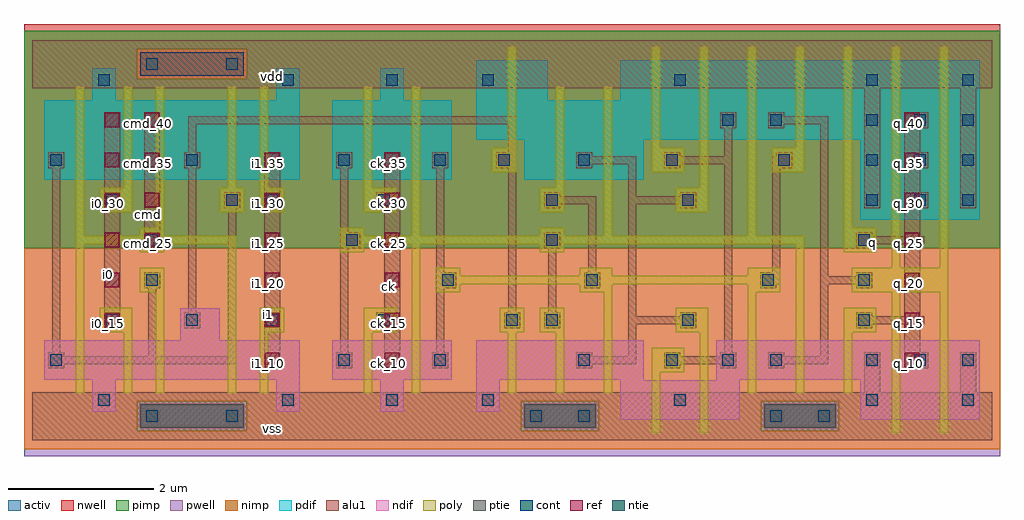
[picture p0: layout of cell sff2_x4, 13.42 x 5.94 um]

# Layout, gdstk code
import gdstk
lib = gdstk.Library(unit=1e-6, precision=2.5e-09)
def R(c, l, rs):  # rectangles x0, y0, x1, y1
    for r in rs: c.add(gdstk.rectangle(r[:2], r[2:], *l))
def A(c, l, x, y, w, h, nx, ny, dx, dy):  # array of equal rectangles
    R(c, l, [(x+i*dx, y+j*dy, x+i*dx+w, y+j*dy+h) for i in range(nx) for j in range(ny)])
ndif = (3, 0)
pdif = (4, 0)
ntie = (5, 0)
ptie = (6, 0)
ref = (24, 0)
cont = (25, 0)
pwell = (41, 0)
nwell = (42, 0)
activ = (43, 0)
pimp = (44, 0)
nimp = (45, 0)
poly = (46, 0)
alu1 = (49, 0)

sff2_x4 = lib.new_cell('sff2_x4')
R(sff2_x4, ndif, [(8.09,0.28,9.73,0.82), (8.09,0.28,9.73,0.82), (11.39,0.28,13.03,0.83), (11.39,0.28,13.03,0.83), (0.83,0.39,1.15,0.83), (0.83,0.39,1.15,0.83), (3.36,0.39,3.68,0.83), (3.36,0.39,3.68,0.83), (4.79,0.39,5.11,0.83), (4.79,0.39,5.11,0.83), (6.11,0.39,6.43,0.83), (6.11,0.39,6.43,0.83), (8.09,0.82,8.41,0.83), (8.09,0.82,8.41,0.83), (9.41,0.82,9.73,0.83), (9.41,0.82,9.73,0.83), (0.17,0.83,3.68,1.37), (0.17,0.83,3.68,1.37), (4.13,0.83,5.77,1.37), (4.13,0.83,5.77,1.37), (6.11,0.83,8.41,1.37), (6.11,0.83,8.41,1.37), (9.41,0.83,13.03,1.37), (9.41,0.83,13.03,1.37), (2.04,1.37,2.58,1.81), (2.04,1.37,2.58,1.81)])
R(sff2_x4, pdif, [(11.39,3.03,13.03,4.13), (11.39,3.03,13.03,4.13), (0.17,3.58,3.68,4.67), (0.17,3.58,3.68,4.67), (4.13,3.58,5.77,4.67), (4.13,3.58,5.77,4.67), (6.77,3.58,8.41,4.13), (6.77,3.58,8.41,4.13), (6.11,4.13,13.03,4.67), (6.11,4.13,13.03,4.67), (0.83,4.67,1.15,5.11), (0.83,4.67,1.15,5.11), (3.36,4.67,3.68,5.11), (3.36,4.67,3.68,5.11), (4.79,4.67,5.11,5.11), (4.79,4.67,5.11,5.11), (6.11,4.67,7.09,5.22), (6.11,4.67,7.09,5.22), (8.09,4.67,13.03,5.22), (8.09,4.67,13.03,5.22)])
R(sff2_x4, ntie, [(1.49,5.01,2.91,5.33), (1.49,5.01,2.91,5.33)])
R(sff2_x4, ptie, [(1.49,0.17,2.91,0.49), (1.49,0.17,2.91,0.49), (6.77,0.17,7.75,0.49), (6.77,0.17,7.75,0.49), (10.07,0.17,11.05,0.49), (10.07,0.17,11.05,0.49)])
A(sff2_x4, ref, 3.2, 1, 0.2, 0.2, 1, 3, 0, 0.55)
A(sff2_x4, ref, 4.85, 1, 0.2, 0.2, 1, 3, 0, 0.55)
A(sff2_x4, ref, 12, 1, 0.2, 0.2, 1, 7, 0, 0.55)
A(sff2_x4, ref, 1, 1.55, 0.2, 0.2, 1, 6, 0, 0.55)
A(sff2_x4, ref, 1.55, 2.65, 0.2, 0.2, 3, 3, 1.65, 0.55)
R(sff2_x4, ref, [(1.55,4.3,1.75,4.5)])
A(sff2_x4, cont, 6.19, 0.47, 0.16, 0.16, 3, 2, 2.64, 4.4)
A(sff2_x4, cont, 11.47, 1.02, 0.16, 0.16, 3, 2, 0.66, 2.2)
A(sff2_x4, cont, 1.02, 1.57, 0.16, 0.16, 3, 1, 1.1, 0)
A(sff2_x4, cont, 11.36, 1.57, 0.16, 0.16, 1, 3, 0, 0.55)
A(sff2_x4, cont, 1.57, 2.67, 0.16, 0.16, 3, 1, 2.75, 0)
A(sff2_x4, cont, 11.47, 3.77, 0.16, 0.16, 3, 2, 0.66, 0.55)
R(sff2_x4, cont, [(1.57,0.25,1.73,0.41), (2.67,0.25,2.83,0.41), (6.85,0.25,7.01,0.41), (7.51,0.25,7.67,0.41), (10.15,0.25,10.31,0.41), (10.81,0.25,10.97,0.41), (0.91,0.47,1.07,0.63), (3.44,0.47,3.6,0.63), (4.87,0.47,5.03,0.63), (12.79,0.47,12.95,0.63), (0.25,1.02,0.41,1.18), (4.21,1.02,4.37,1.18), (5.53,1.02,5.69,1.18), (7.51,1.02,7.67,1.18), (8.72,1.02,8.88,1.18), (9.49,1.02,9.65,1.18), (10.15,1.02,10.31,1.18), (4.76,1.57,4.92,1.73), (6.52,1.57,6.68,1.73), (7.07,1.57,7.23,1.73), (8.94,1.57,9.1,1.73), (1.57,2.12,1.73,2.28), (5.64,2.12,5.8,2.28), (7.62,2.12,7.78,2.28), (10.04,2.12,10.2,2.28), (1.02,3.22,1.18,3.38), (2.67,3.22,2.83,3.38), (3.22,3.22,3.38,3.38), (4.76,3.22,4.92,3.38), (7.07,3.22,7.23,3.38), (8.94,3.22,9.1,3.38), (0.25,3.77,0.41,3.93), (2.12,3.77,2.28,3.93), (4.21,3.77,4.37,3.93), (5.53,3.77,5.69,3.93), (6.41,3.77,6.57,3.93), (7.51,3.77,7.67,3.93), (8.72,3.77,8.88,3.93), (10.26,3.77,10.42,3.93), (9.49,4.32,9.65,4.48), (10.15,4.32,10.31,4.48), (0.91,4.87,1.07,5.03), (3.44,4.87,3.6,5.03), (4.87,4.87,5.03,5.03), (12.79,4.87,12.95,5.03), (1.57,5.09,1.73,5.25), (2.67,5.09,2.83,5.25)])
R(sff2_x4, pwell, [(-0.11,-0.22,13.31,2.64)])
R(sff2_x4, nwell, [(-0.11,2.64,13.31,5.72)])
R(sff2_x4, activ, [(1.49,0.17,2.91,0.49), (1.49,0.17,2.91,0.49), (6.77,0.17,7.75,0.49), (6.77,0.17,7.75,0.49), (10.07,0.17,11.05,0.49), (10.07,0.17,11.05,0.49), (8.09,0.28,9.73,0.82), (8.09,0.28,9.73,0.82), (11.39,0.28,13.03,0.83), (11.39,0.28,13.03,0.83), (0.83,0.39,1.15,0.83), (0.83,0.39,1.15,0.83), (3.36,0.39,3.68,0.83), (3.36,0.39,3.68,0.83), (4.79,0.39,5.11,0.83), (4.79,0.39,5.11,0.83), (6.11,0.39,6.43,0.83), (6.11,0.39,6.43,0.83), (8.09,0.82,8.41,0.83), (8.09,0.82,8.41,0.83), (9.41,0.82,9.73,0.83), (9.41,0.82,9.73,0.83), (0.17,0.83,3.68,1.37), (0.17,0.83,3.68,1.37), (4.13,0.83,5.77,1.37), (4.13,0.83,5.77,1.37), (6.11,0.83,8.41,1.37), (6.11,0.83,8.41,1.37), (9.41,0.83,13.03,1.37), (9.41,0.83,13.03,1.37), (2.04,1.37,2.58,1.81), (2.04,1.37,2.58,1.81), (11.39,3.03,13.03,4.13), (11.39,3.03,13.03,4.13), (0.17,3.58,3.68,4.67), (0.17,3.58,3.68,4.67), (4.13,3.58,5.77,4.67), (4.13,3.58,5.77,4.67), (6.77,3.58,8.41,4.13), (6.77,3.58,8.41,4.13), (6.11,4.13,13.03,4.67), (6.11,4.13,13.03,4.67), (0.83,4.67,1.15,5.11), (0.83,4.67,1.15,5.11), (3.36,4.67,3.68,5.11), (3.36,4.67,3.68,5.11), (4.79,4.67,5.11,5.11), (4.79,4.67,5.11,5.11), (6.11,4.67,7.09,5.22), (6.11,4.67,7.09,5.22), (8.09,4.67,13.03,5.22), (8.09,4.67,13.03,5.22), (1.49,5.01,2.91,5.33), (1.49,5.01,2.91,5.33)])
R(sff2_x4, pimp, [(1.445,0.125,2.955,0.535), (6.725,0.125,7.795,0.535), (10.025,0.125,11.095,0.535), (-0.11,2.64,13.31,4.965), (-0.11,4.965,1.445,5.375), (2.955,4.965,13.31,5.375), (-0.11,5.375,13.31,5.625)])
R(sff2_x4, nimp, [(-0.11,-0.125,13.31,0.125), (-0.11,0.125,1.445,0.535), (2.955,0.125,6.725,0.535), (7.795,0.125,10.025,0.535), (11.095,0.125,13.31,0.535), (-0.11,0.535,13.31,2.64), (1.445,4.965,2.955,5.375)])
A(sff2_x4, poly, 1.48, 2.58, 0.34, 0.11, 3, 2, 2.75, 0.23)
A(sff2_x4, poly, 6.54, 4.02, 0.12, 1.38, 3, 1, 1.98, 0)
R(sff2_x4, poly, [(8.52,0.1,8.64,0.93), (9.18,0.1,9.3,1.48), (11.82,0.1,11.94,2.03), (12.48,0.1,12.6,2.03), (0.6,0.65,0.72,2.69), (1.26,0.65,1.38,1.48), (1.7,0.65,1.82,2.03), (2.69,0.65,2.81,2.69), (3.13,0.65,3.25,1.48), (4.56,0.65,4.68,1.48), (5.22,0.65,5.34,2.69), (6.54,0.65,6.66,1.48), (7.2,0.65,7.32,1.48), (7.86,0.65,7.98,2.03), (9.84,0.65,9.96,2.03), (10.5,0.65,10.62,2.69), (11.16,0.65,11.28,1.48), (8.52,0.93,8.97,1.27), (0.93,1.48,1.38,1.82), (3.13,1.48,3.47,1.82), (4.56,1.48,5.01,1.82), (6.43,1.48,6.77,1.82), (6.98,1.48,7.32,1.82), (8.85,1.48,9.3,1.82), (11.16,1.48,11.61,1.82), (1.48,2.03,1.82,2.37), (5.55,2.03,5.89,2.14), (7.53,2.03,7.98,2.14), (9.84,2.03,10.29,2.14), (11.27,2.03,12.6,2.37), (5.55,2.14,10.29,2.26), (5.55,2.26,5.89,2.37), (7.53,2.26,7.98,2.37), (9.84,2.26,10.29,2.37), (11.82,2.37,11.94,5.4), (12.48,2.37,12.6,5.4), (11.16,2.58,11.61,2.92), (0.6,2.69,2.81,2.81), (4.23,2.69,10.62,2.81), (0.6,2.81,0.72,4.85), (5.22,2.81,5.34,4.85), (7.86,2.81,7.98,4.85), (9.84,2.81,9.96,5.4), (1.7,2.92,1.82,4.85), (11.16,2.92,11.28,5.4), (0.93,3.13,1.38,3.47), (2.58,3.13,2.92,3.47), (3.13,3.13,3.47,3.47), (4.56,3.13,5.01,3.47), (6.98,3.13,7.32,3.47), (8.85,3.13,9.3,3.47), (1.26,3.47,1.38,4.85), (2.69,3.47,2.81,4.85), (3.13,3.47,3.25,4.85), (4.56,3.47,4.68,4.85), (7.2,3.47,7.32,4.85), (9.18,3.47,9.3,5.4), (6.32,3.68,6.66,4.02), (8.52,3.68,8.97,4.02), (10.17,3.68,10.62,4.02)])
A(sff2_x4, alu1, 11.99, 3.19, 0.33, 0.22, 1, 3, 0, 0.55)
R(sff2_x4, alu1, [(0,0,13.2,0.66), (11.44,0.66,11.66,1.21), (12.76,0.66,12.98,1.21), (0.22,0.99,0.44,1.045), (3.19,0.99,3.41,3.96), (4.18,0.99,4.4,1.21), (4.84,0.99,5.06,1.54), (5.5,0.99,5.72,1.21), (7.48,0.99,7.7,1.045), (8.69,0.99,8.91,1.045), (9.46,0.99,9.68,1.045), (10.12,0.99,10.34,1.045), (11.99,0.99,12.32,1.21), (0.22,1.045,2.805,1.155), (7.48,1.045,8.305,1.155), (8.69,1.045,9.68,1.155), (10.12,1.045,10.945,1.155), (0.22,1.155,0.44,1.21), (1.595,1.155,1.705,2.09), (2.695,1.155,2.805,3.19), (7.48,1.155,7.7,1.21), (8.195,1.155,8.305,1.595), (8.69,1.155,8.91,1.21), (9.46,1.155,9.68,1.21), (10.12,1.155,10.34,1.21), (10.835,1.155,10.945,2.145), (0.275,1.21,0.385,3.74), (4.235,1.21,4.345,2.64), (5.555,1.21,5.665,2.09), (9.515,1.21,9.625,3.795), (11.99,1.21,12.21,1.595), (0.99,1.54,1.21,4.51), (2.09,1.54,2.31,1.76), (4.73,1.54,5.06,1.76), (6.49,1.54,6.71,1.76), (7.04,1.54,7.26,1.76), (8.91,1.54,9.13,1.595), (11.33,1.54,11.55,1.595), (8.195,1.595,9.13,1.705), (11.33,1.595,12.265,1.705), (8.195,1.705,8.305,3.245), (8.91,1.705,9.13,1.76), (11.33,1.705,11.55,1.76), (11.99,1.705,12.21,2.695), (2.145,1.76,2.255,3.74), (4.84,1.76,5.06,3.19), (6.545,1.76,6.655,3.74), (7.095,1.76,7.205,2.64), (1.54,2.09,1.76,2.31), (5.555,2.09,5.83,2.31), (7.59,2.09,7.81,2.31), (10.01,2.09,10.23,2.145), (11.33,2.09,11.55,2.145), (10.01,2.145,10.285,2.31), (10.835,2.145,11.55,2.255), (10.835,2.255,10.945,4.345), (11.33,2.255,11.55,2.31), (5.555,2.31,5.665,3.74), (7.645,2.31,7.755,3.245), (10.175,2.31,10.285,3.74), (1.54,2.64,1.76,4.51), (4.235,2.64,4.51,2.86), (7.04,2.64,7.26,2.86), (11.33,2.64,11.55,2.695), (11.33,2.695,12.265,2.805), (11.33,2.805,11.55,2.86), (11.99,2.805,12.21,3.19), (4.235,2.86,4.345,3.74), (2.64,3.19,2.86,3.41), (4.73,3.19,5.06,3.41), (7.04,3.19,7.26,3.245), (8.91,3.19,9.13,3.245), (11.44,3.19,11.66,4.84), (12.76,3.19,12.98,4.84), (7.04,3.245,7.755,3.355), (8.195,3.245,9.13,3.355), (7.04,3.355,7.26,3.41), (8.195,3.355,8.305,3.795), (8.91,3.355,9.13,3.41), (4.84,3.41,5.06,3.96), (11.99,3.41,12.21,3.74), (0.22,3.74,0.44,3.96), (2.09,3.74,2.31,3.96), (4.18,3.74,4.4,3.96), (5.5,3.74,5.72,3.96), (6.38,3.74,6.655,3.96), (7.48,3.74,7.7,3.795), (8.69,3.74,8.91,3.795), (10.175,3.74,10.45,3.905), (7.48,3.795,8.305,3.905), (8.69,3.795,9.625,3.905), (7.48,3.905,7.7,3.96), (8.69,3.905,8.91,3.96), (9.515,3.905,9.625,4.29), (10.23,3.905,10.45,3.96), (2.145,3.96,2.255,4.345), (6.545,3.96,6.655,4.345), (11.99,3.96,12.21,4.29), (9.46,4.29,9.68,4.51), (10.12,4.29,10.34,4.345), (2.145,4.345,6.655,4.455), (10.12,4.345,10.945,4.455), (10.12,4.455,10.34,4.51), (0,4.84,13.2,5.5)])
sff2_x4.add(gdstk.Label('vss', (3.3,0.165), layer=49, texttype=0))
sff2_x4.add(gdstk.Label('q', (11.5625,2.7225), layer=49, texttype=0))
sff2_x4.add(gdstk.Label('ck', (4.895,2.1175), layer=49, texttype=0))
sff2_x4.add(gdstk.Label('i1', (3.245,1.7325), layer=49, texttype=0))
sff2_x4.add(gdstk.Label('cmd', (1.595,3.1075), layer=49, texttype=0))
sff2_x4.add(gdstk.Label('i0', (1.045,2.2825), layer=49, texttype=0))
sff2_x4.add(gdstk.Label('vdd', (3.3,5.005), layer=49, texttype=0))
sff2_x4.add(gdstk.Label('q_20', (12.05,2.15), layer=24, texttype=0))
sff2_x4.add(gdstk.Label('q_40', (12.05,4.35), layer=24, texttype=0))
sff2_x4.add(gdstk.Label('q_35', (12.05,3.8), layer=24, texttype=0))
sff2_x4.add(gdstk.Label('q_30', (12.05,3.25), layer=24, texttype=0))
sff2_x4.add(gdstk.Label('q_25', (12.05,2.7), layer=24, texttype=0))
sff2_x4.add(gdstk.Label('q_15', (12.05,1.6), layer=24, texttype=0))
sff2_x4.add(gdstk.Label('q_10', (12.05,1.05), layer=24, texttype=0))
sff2_x4.add(gdstk.Label('cmd_40', (1.6,4.35), layer=24, texttype=0))
sff2_x4.add(gdstk.Label('cmd_35', (1.6,3.8), layer=24, texttype=0))
sff2_x4.add(gdstk.Label('cmd_30', (1.6,3.25), layer=24, texttype=0))
sff2_x4.add(gdstk.Label('cmd_25', (1.6,2.7), layer=24, texttype=0))
sff2_x4.add(gdstk.Label('i1_35', (3.25,3.8), layer=24, texttype=0))
sff2_x4.add(gdstk.Label('i1_30', (3.25,3.25), layer=24, texttype=0))
sff2_x4.add(gdstk.Label('i1_25', (3.25,2.7), layer=24, texttype=0))
sff2_x4.add(gdstk.Label('i1_20', (3.25,2.15), layer=24, texttype=0))
sff2_x4.add(gdstk.Label('i1_15', (3.25,1.6), layer=24, texttype=0))
sff2_x4.add(gdstk.Label('i1_10', (3.25,1.05), layer=24, texttype=0))
sff2_x4.add(gdstk.Label('i0_40', (1.05,4.35), layer=24, texttype=0))
sff2_x4.add(gdstk.Label('i0_30', (1.05,3.25), layer=24, texttype=0))
sff2_x4.add(gdstk.Label('i0_35', (1.05,3.8), layer=24, texttype=0))
sff2_x4.add(gdstk.Label('i0_25', (1.05,2.7), layer=24, texttype=0))
sff2_x4.add(gdstk.Label('i0_20', (1.05,2.15), layer=24, texttype=0))
sff2_x4.add(gdstk.Label('i0_15', (1.05,1.6), layer=24, texttype=0))
sff2_x4.add(gdstk.Label('ck_15', (4.9,1.6), layer=24, texttype=0))
sff2_x4.add(gdstk.Label('ck_20', (4.9,2.15), layer=24, texttype=0))
sff2_x4.add(gdstk.Label('ck_25', (4.9,2.7), layer=24, texttype=0))
sff2_x4.add(gdstk.Label('ck_30', (4.9,3.25), layer=24, texttype=0))
sff2_x4.add(gdstk.Label('ck_35', (4.9,3.8), layer=24, texttype=0))
sff2_x4.add(gdstk.Label('ck_10', (4.9,1.05), layer=24, texttype=0))

lib.write_gds('sff2_x4.gds')
